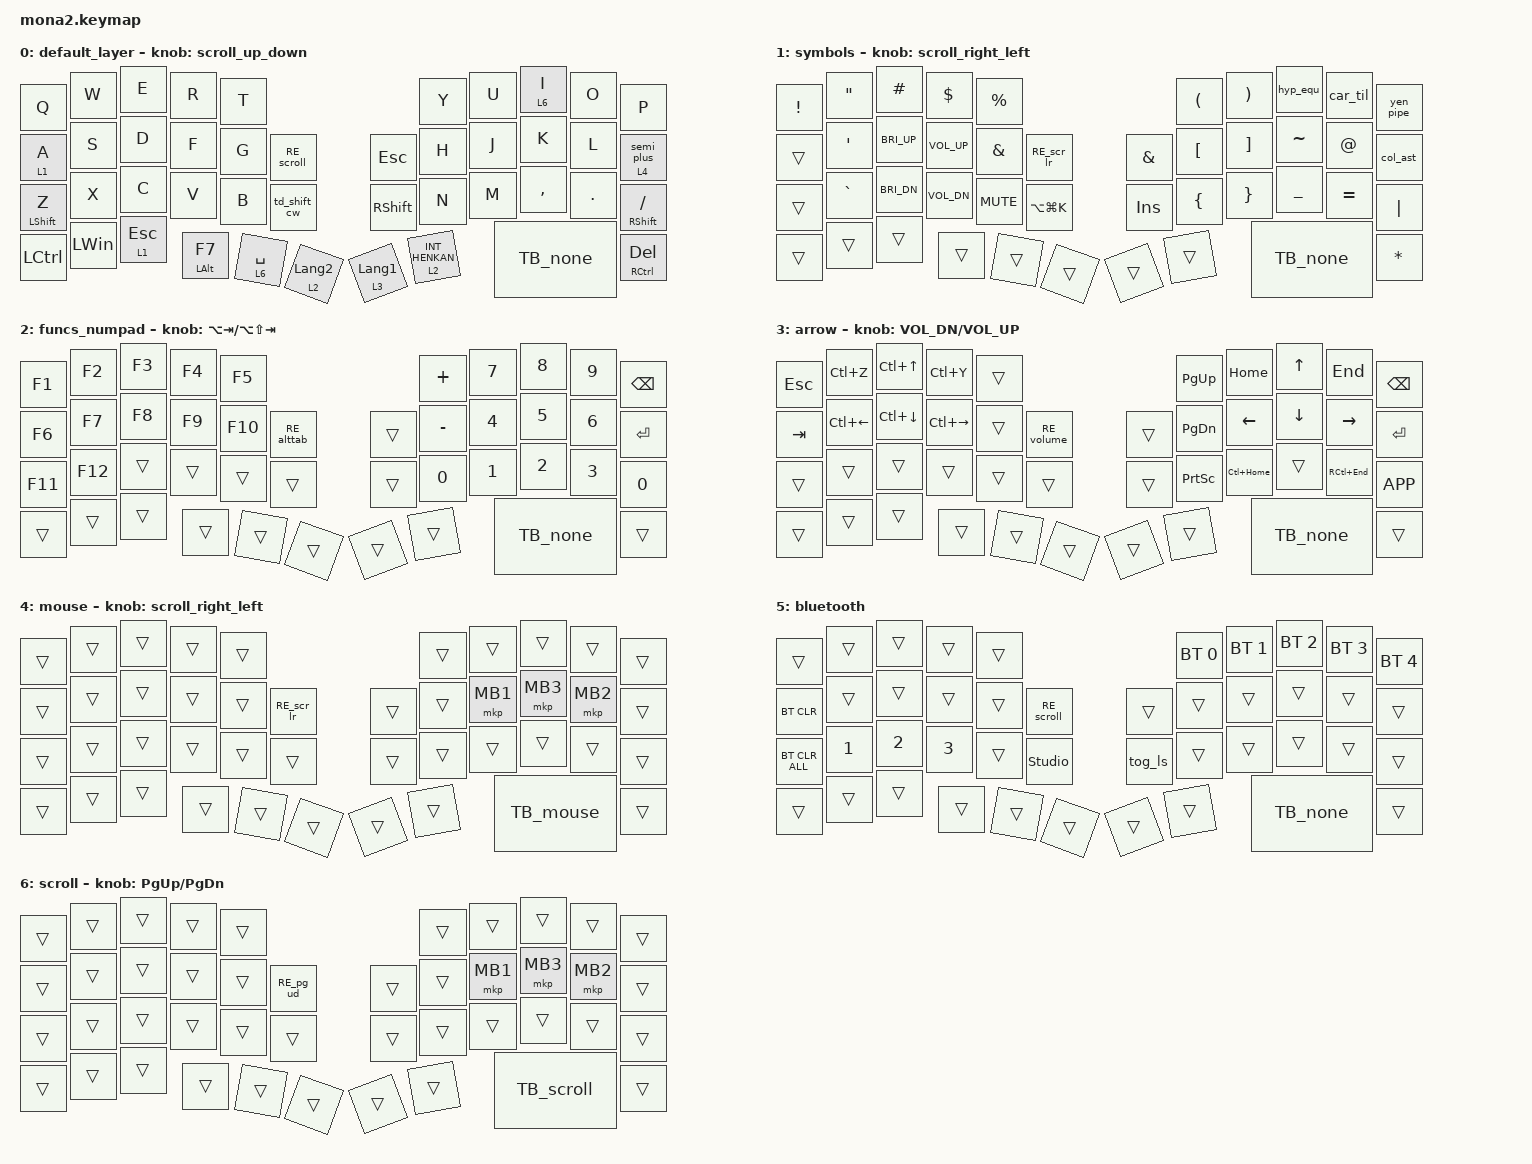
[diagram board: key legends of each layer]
#include <input/processors.dtsi>
#include <input/processors/runtime-input-processor.dtsi>
#include <dt-bindings/zmk/input_transform.h>
#include <zephyr/dt-bindings/input/input-event-codes.h>
#include <behaviors/runtime-sensor-rotate.dtsi>
#include <behaviors/battery_history_request.dtsi>
#include <layout_shift_kp_override.dtsi>
#include <behaviors.dtsi>
#include <dt-bindings/zmk/bt.h>
#include <dt-bindings/zmk/keys.h>
#include <dt-bindings/zmk/pointing.h>

// -------------------- Constants --------------------

#undef ZMK_POINTING_DEFAULT_SCRL_VAL

#define ZMK_POINTING_DEFAULT_SCRL_VAL 100

// Layer Indexes

#define DEFAULT 0
#define SYMBOLS 1
#define FUNCS_NUMPAD 2
#define ARROW 3
#define MOUSE 4
#define BLUETOOTH 5
#define SCROLL 6

// -------------------- Behavior Parameters --------------------

&mt {
    flavor = "balanced";
    tapping-term-ms = <250>;
    quick-tap-ms = <100>;
    require-prior-idle-ms = <100>;
};

&lt {
    tapping-term-ms = <200>;
    quick-tap-ms = <100>;
    require-prior-idle-ms = <100>;
    flavor = "balanced";
};

&mkp_input_listener { input-processors = <&zip_temp_layer 4 5000>; };

/ {
    // -------- Combos --------

    combos {
        compatible = "zmk,combos";

        default_esc {
            timeout-ms = <70>;
            slow-release;
            bindings = <&kp ESC>;
            key-positions = <0 10>;
            layers = <0>;
        };

        tab {
            timeout-ms = <70>;
            slow-release;
            bindings = <&kp TAB>;
            key-positions = <10 11>;
            layers = <0>;
        };

        shift_tab {
            timeout-ms = <70>;
            slow-release;
            bindings = <&kp LS(TAB)>;
            key-positions = <11 12>;
            layers = <0>;
        };

        bt_setting {
            timeout-ms = <70>;
            slow-release;
            bindings = <&lt 5 LA(B)>;
            key-positions = <26 38>;
            layers = <0>;
        };

        hyphen {
            timeout-ms = <70>;
            slow-release;
            bindings = <&kp MINUS>;
            key-positions = <7 8>;
            layers = <0>;
        };

        cpline {
            timeout-ms = <70>;
            slow-release;
            bindings = <&select_line>;
            key-positions = <18 19>;
            layers = <0>;
        };

        cpbef {
            timeout-ms = <70>;
            slow-release;
            bindings = <&kp LS(HOME)>;
            key-positions = <6 7>;
            layers = <0>;
        };

        cpaft {
            timeout-ms = <70>;
            slow-release;
            bindings = <&kp LS(END)>;
            key-positions = <30 31>;
            layers = <0>;
        };

        BS {
            bindings = <&kp BACKSPACE>;
            key-positions = <9 21>;
        };

        ENT {
            bindings = <&kp ENTER>;
            key-positions = <20 21>;
        };

        Ctrl_d {
            timeout-ms = <70>;
            slow-release;
            bindings = <&kp LC(X)>;
            key-positions = <2 3>;
            layers = <0>;
        };

        Ctrl_C {
            timeout-ms = <70>;
            slow-release;
            bindings = <&kp LC(C)>;
            key-positions = <12 13>;
            layers = <0>;
        };

        Ctrl_v {
            timeout-ms = <70>;
            slow-release;
            bindings = <&kp LC(V)>;
            key-positions = <25 24>;
            layers = <0>;
        };
    };

    // -------- Macros --------

    macros {
        exit_AML: exit_AML {
            compatible = "zmk,behavior-macro";
            wait-ms = <0>;
            tap-ms = <0>;
            #binding-cells = <0>;
            bindings = <&tog_off 4>;
            label = "exit_AML";
        };

        kp_exit_AML: kp_exit_AML {
            compatible = "zmk,behavior-macro-one-param";
            wait-ms = <0>;
            tap-ms = <0>;
            #binding-cells = <1>;
            bindings = <&macro_param_1to1 &kp MACRO_PLACEHOLDER &exit_AML>;
            label = "KP_exit_AML";
        };

        select_line: select_line {
            compatible = "zmk,behavior-macro";
            #binding-cells = <0>;
            bindings = <&kp HOME &kp LS(END)>;
            label = "select_LINE";
        };
    };

    // -------- Behaviors --------

    behaviors {
        // Override the existing &kp behavior to use our custom implementation

        kp: key_press {
            compatible = "zmk,behavior-layout-shift-key-press";
            #binding-cells = <1>;
            label = "LAYOUT_SHIFT_KEY_PRESS";
        };

        col_ast: colon_asterisk {
            compatible = "zmk,behavior-mod-morph";
            #binding-cells = <0>;
            bindings = <&kp COLON>, <&kp ASTERISK>;

            mods = <(MOD_LSFT|MOD_RSFT)>;
        };

        yen_pipe: yen_pipe {
            compatible = "zmk,behavior-mod-morph";
            #binding-cells = <0>;
            bindings = <&kp BACKSLASH>, <&kp PIPE>;

            mods = <(MOD_LSFT|MOD_RSFT)>;
        };

        car_til: caret_tilde {
            compatible = "zmk,behavior-mod-morph";
            #binding-cells = <0>;
            bindings = <&kp CARET>, <&kp TILDE>;

            mods = <(MOD_LSFT|MOD_RSFT)>;
        };

        semi_plus: semi_plus {
            compatible = "zmk,behavior-mod-morph";
            #binding-cells = <0>;
            bindings = <&kp SEMICOLON>, <&kp PLUS>;

            mods = <(MOD_LSFT|MOD_RSFT)>;
        };

        // 新しく定義する Hold-Tap

        lt_semi: lt_semi {
            compatible = "zmk,behavior-hold-tap";
            label = "LT_SEMI";
            #binding-cells = <2>;
            flavor = "tap-preferred";
            tapping-term-ms = <200>;
            bindings = <&mo>, <&semi_plus>;

            // ここで &semi_plus を呼び出す
        };

        lt_finger: lt_finger {
            compatible = "zmk,behavior-hold-tap";
            bindings = <&mo>, <&kp>;

            #binding-cells = <2>;
            tapping-term-ms = <280>;
            flavor = "balanced";
            quick-tap-ms = <100>;
            require-prior-idle-ms = <100>;
        };

        scroll_up_down: behavior_sensor_rotate_mouse_wheel_up_down {
            compatible = "zmk,behavior-sensor-rotate";
            #sensor-binding-cells = <0>;
            bindings = <&msc SCRL_UP>, <&msc SCRL_DOWN>;

            tap-ms = <20>;
        };

        scroll_right_left: mouse_wheel_right_left {
            compatible = "zmk,behavior-sensor-rotate";
            #sensor-binding-cells = <0>;
            bindings = <&msc SCRL_LEFT>, <&msc SCRL_RIGHT>;

            tap-ms = <20>;
        };

        tab_switcher: tab_switcher {
            compatible = "zmk,behavior-sensor-rotate";
            #sensor-binding-cells = <0>;
            bindings = <&kp LC(PAGE_UP)>, <&kp LC(PAGE_DOWN)>;

            tap-ms = <20>;
        };

        alt_tab: alt_tab {
            compatible = "zmk,behavior-sensor-rotate";
            #sensor-binding-cells = <0>;
            bindings = <&kp  LS(TAB)>, <&kp TAB>;

            tap-ms = <20>;
        };

        tog_off: toggle_layer_off {
            compatible = "zmk,behavior-toggle-layer";
            #binding-cells = <1>;
            display-name = "Toggle Layer Off";
            toggle-mode = "off";
        };

        mt_exit_AML: mt_exit_AML_on_tap {
            compatible = "zmk,behavior-hold-tap";
            label = "MT_exit_AML_ON_TAP";
            bindings = <&kp>, <&kp_exit_AML>;

            #binding-cells = <2>;
            tapping-term-ms = <250>;
            flavor = "balanced";
            quick-tap-ms = <175>;
            require-prior-idle-ms = <0>;
        };

        ht_home: hold_tap_home {
            compatible = "zmk,behavior-hold-tap";
            label = "HT_HOME";
            flavor = "balanced";
            tapping-term-ms = <160>;
            quick-tap-ms = <150>;
            hold-trigger-on-release;
            bindings = <&kp>, <&kp>;

            #binding-cells = <2>;
        };

        caps_word_jis: caps_word_jis {
            compatible = "zmk,behavior-caps-word";
            #binding-cells = <0>;
            continue-list = <UNDERSCORE INT_RO BACKSPACE DELETE MINUS>;
        };

        td_shift_cw: tap_dance_shift_capsword {
            compatible = "zmk,behavior-tap-dance";
            #binding-cells = <0>;
            tapping-term-ms = <200>;
            bindings = <&kp LSHIFT>, <&caps_word_jis>;
        };

        TB_none: TB_none {
            compatible = "zmk,behavior-none";
            #binding-cells = <0>;
        };

        TB_mouse: TB_mouse {
            compatible = "zmk,behavior-none";
            #binding-cells = <0>;
        };

        TB_scroll: TB_scroll {
            compatible = "zmk,behavior-none";
            #binding-cells = <0>;
        };

        RE_scroll: RE_scroll {
            compatible = "zmk,behavior-none";
            #binding-cells = <0>;
        };

        RE_alttab: RE_alttab {
            compatible = "zmk,behavior-none";
            #binding-cells = <0>;
        };

        RE_volume: RE_volume {
            compatible = "zmk,behavior-none";
            #binding-cells = <0>;
        };

        RE_pg_ud: RE_pg_ud {
            compatible = "zmk,behavior-none";
            #binding-cells = <0>;
        };

        RE_scr_lr: RE_scr_lr {
            compatible = "zmk,behavior-none";
            #binding-cells = <0>;
        };

        hyp_equ: hyp_equ {
            compatible = "zmk,behavior-mod-morph";
            #binding-cells = <0>;
            bindings = <&kp MINUS>, <&kp MINUS>;

            mods = <(MOD_LSFT|MOD_RSFT)>;
            label = "HYP_EQU";
            
            keep-mods = <(MOD_LSFT|MOD_RSFT)>; 
        };
    };

    // -------- Keymaps --------

    keymap {
        compatible = "zmk,keymap";

        default_layer {
            bindings = <
&kp Q                  &kp W         &kp E      &kp R                 &kp T                                              &kp Y             &kp U     &lt_finger 6 I  &kp O       &kp P
&lt_finger 1 A         &kp S         &kp D      &kp F                 &kp G        &RE_scroll          &kp ESC           &kp H             &kp J     &kp K           &kp L       &lt_semi 4 0
&mt_exit_AML LSHIFT Z  &kp X         &kp C      &kp V                 &kp B        &td_shift_cw        &kp RSHIFT        &kp N             &kp M     &kp COMMA       &kp PERIOD  &mt RSHIFT SLASH
&kp LCTRL              &kp LEFT_WIN  &lt 1 ESC  &ht_home LEFT_ALT F7  &lt 6 SPACE  &lt 2 LANGUAGE_2    &lt 3 LANGUAGE_1  &lt 2 INT_HENKAN  &TB_none                              &ht_home RCTRL DEL
            >;

            sensor-bindings = <&scroll_up_down>;
        };

        symbols {
            bindings = <
&kp EXCLAMATION  &kp DOUBLE_QUOTES  &kp HASH      &kp DOLLAR    &kp PERCENT                                    &kp LEFT_PARENTHESIS  &kp RIGHT_PARENTHESIS  &hyp_equ        &car_til   &yen_pipe
&trans           &kp SQT            &kp C_BRI_UP  &kp C_VOL_UP  &kp AMPERSAND  &RE_scr_lr       &kp AMPERSAND  &kp LEFT_BRACKET      &kp RIGHT_BRACKET      &kp TILDE       &kp AT     &col_ast
&trans           &kp GRAVE          &kp C_BRI_DN  &kp C_VOL_DN  &kp C_MUTE     &kp LA(LG(K))    &kp INSERT     &kp LEFT_BRACE        &kp RIGHT_BRACE        &kp UNDERSCORE  &kp EQUAL  &kp PIPE
&trans           &trans             &trans        &trans        &trans         &trans           &trans         &trans                &TB_none                                          &kp ASTERISK
            >;

            sensor-bindings = <&scroll_right_left>;
        };

        funcs_numpad {
            bindings = <
&kp F1   &kp F2   &kp F3  &kp F4  &kp F5                         &kp PLUS   &kp N7    &kp N8  &kp N9  &kp BACKSPACE
&kp F6   &kp F7   &kp F8  &kp F9  &kp F10  &RE_alttab    &trans  &kp MINUS  &kp N4    &kp N5  &kp N6  &kp ENTER
&kp F11  &kp F12  &trans  &trans  &trans   &trans        &trans  &kp N0     &kp N1    &kp N2  &kp N3  &kp N0
&trans   &trans   &trans  &trans  &trans   &trans        &trans  &trans     &TB_none                  &trans
            >;

            sensor-bindings = <&inc_dec_kp LA(TAB) LA(LS(TAB))>;
        };

        arrow {
            bindings = <
&kp ESC  &kp LC(Z)           &kp LC(UP_ARROW)    &kp LC(Y)            &trans                        &kp PAGE_UP    &kp HOME        &kp UP_ARROW    &kp END          &kp BACKSPACE
&kp TAB  &kp LC(LEFT_ARROW)  &kp LC(DOWN_ARROW)  &kp LC(RIGHT_ARROW)  &trans  &RE_volume    &trans  &kp PAGE_DOWN  &kp LEFT_ARROW  &kp DOWN_ARROW  &kp RIGHT_ARROW  &kp ENTER
&trans   &trans              &trans              &trans               &trans  &trans        &trans  &kp PSCRN      &kp LC(HOME)    &trans          &kp RC(END)      &kp K_APP
&trans   &trans              &trans              &trans               &trans  &trans        &trans  &trans         &TB_none                                         &trans
            >;

            sensor-bindings = <&inc_dec_kp C_VOL_DN C_VOL_UP>;
        };

        mouse {
            bindings = <
&trans  &trans  &trans  &trans  &trans                        &trans  &trans     &trans    &trans    &trans
&trans  &trans  &trans  &trans  &trans  &RE_scr_lr    &trans  &trans  &mkp MB1   &mkp MB3  &mkp MB2  &trans
&trans  &trans  &trans  &trans  &trans  &trans        &trans  &trans  &trans     &trans    &trans    &trans
&trans  &trans  &trans  &trans  &trans  &trans        &trans  &trans  &TB_mouse                      &trans
            >;

            sensor-bindings = <&scroll_right_left>;
        };

        bluetooth {
            bindings = <
&trans          &trans  &trans  &trans  &trans                             &bt BT_SEL 0  &bt BT_SEL 1  &bt BT_SEL 2  &bt BT_SEL 3  &bt BT_SEL 4
&bt BT_CLR      &trans  &trans  &trans  &trans  &RE_scroll        &trans   &trans        &trans        &trans        &trans        &trans
&bt BT_CLR_ALL  &kp N1  &kp N2  &kp N3  &trans  &studio_unlock    &tog_ls  &trans        &trans        &trans        &trans        &trans
&trans          &trans  &trans  &trans  &trans  &trans            &trans   &trans        &TB_none                                  &trans
            >;
        };

        scroll {
            bindings = <
&trans  &trans  &trans  &trans  &trans                       &trans  &trans      &trans    &trans    &trans
&trans  &trans  &trans  &trans  &trans  &RE_pg_ud    &trans  &trans  &mkp MB1    &mkp MB3  &mkp MB2  &trans
&trans  &trans  &trans  &trans  &trans  &trans       &trans  &trans  &trans      &trans    &trans    &trans
&trans  &trans  &trans  &trans  &trans  &trans       &trans  &trans  &TB_scroll                      &trans
            >;

            sensor-bindings = <&inc_dec_kp PAGE_UP PAGE_DOWN>;
        };
    };
};
